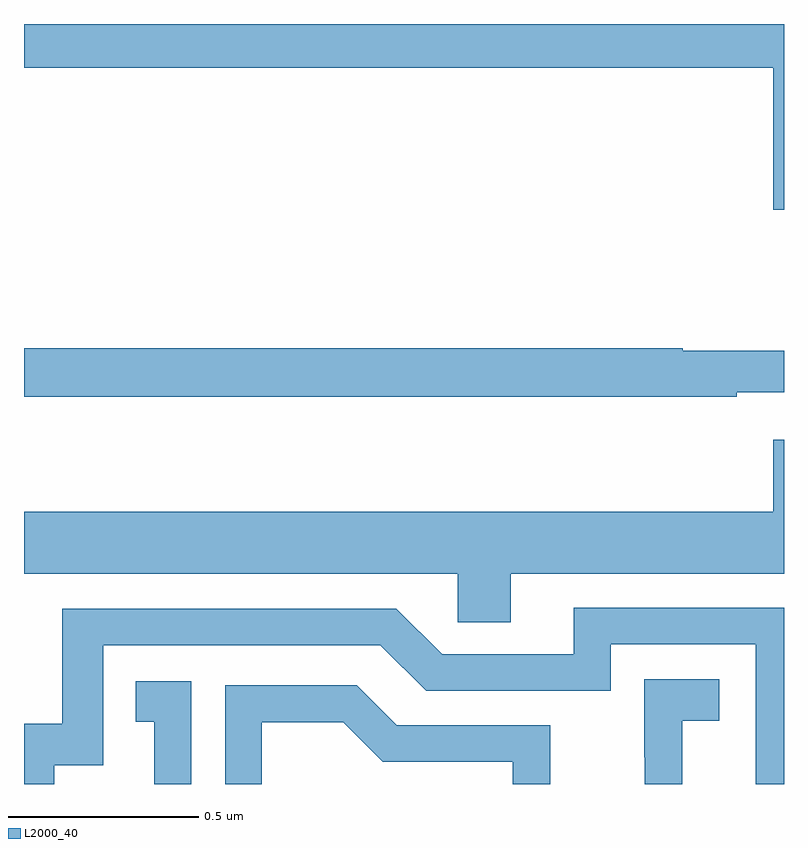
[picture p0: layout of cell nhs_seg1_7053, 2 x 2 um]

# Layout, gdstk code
import gdstk
lib = gdstk.Library(unit=1e-6, precision=1e-09)
def P(c, l, *ps):  # polygons
    for p in ps: c.add(gdstk.Polygon(p, *l))
L2000_40 = (2000, 40)

nhs_seg1_7053 = lib.new_cell('nhs_seg1_7053')
P(nhs_seg1_7053, L2000_40, [(201,533.199),(199,533.199),(199,533.084),(200.972,533.084),(200.972,532.71),(201,532.71)],
  [(200.876,532.23),(201,532.23),(201,532.339),(200.734,532.339),(200.734,532.346),(199,532.346),(199,532.218),(200.876,532.218)],
  [(200.281,531.752),(201,531.752),(201,532.105),(200.972,532.105),(200.972,531.916),(199,531.916),(199,531.752),(200.142,531.752),(200.142,531.625),(200.281,531.625)],
  [(199.08,531.249),(199.209,531.249),(199.209,531.564),(199.938,531.564),(200.058,531.444),(200.544,531.444),(200.544,531.567),(200.925,531.567),(200.925,531.199),(201,531.199),(201,531.663),(200.447,531.663),(200.447,531.54),(200.1,531.54),(199.98,531.66),(199.101,531.66),(199.101,531.358),(199,531.358),(199,531.199),(199.08,531.199)],
  [(200.732,531.365),(200.83,531.365),(200.83,531.475),(200.632,531.475),(200.632,531.269),(200.633,531.269),(200.633,531.199),(200.732,531.199)],
  [(199.44,531.469),(199.294,531.469),(199.294,531.363),(199.343,531.363),(199.343,531.199),(199.44,531.199)],
  [(199.626,531.362),(199.84,531.362),(199.944,531.258),(200.286,531.258),(200.286,531.199),(200.385,531.199),(200.385,531.354),(199.981,531.354),(199.876,531.459),(199.53,531.459),(199.53,531.199),(199.626,531.199)])

lib.write_gds('nhs_seg1_7053.gds')
